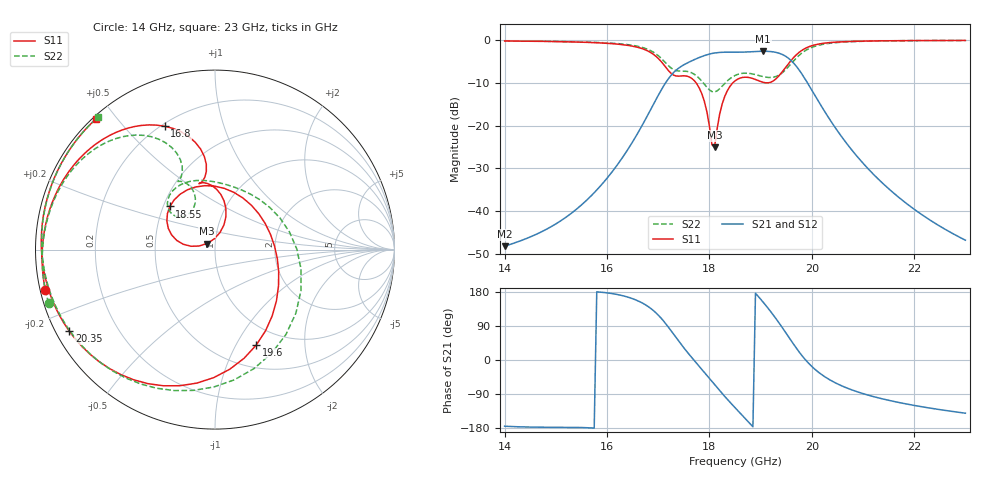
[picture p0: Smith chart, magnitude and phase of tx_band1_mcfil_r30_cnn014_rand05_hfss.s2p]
! Touchstone file exported from HFSS 3D Layout Design 2026.1.0
!  File:  D:/Work/SIM/ADS_AUTO_SIM/projects/RFSOC_RF/TX_Fillter.aedt
!  Generated:  02:31:05 AM Aug 31, 2026
!  Design:  TX_BAND1_MCFIL_R30_CNN014
!  Project:  TX_Fillter
# GHz S MA R 50.000000
! Terminal data exported
! Port[1] = Port1
! Port[2] = Port2
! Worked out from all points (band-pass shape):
!   181 points, 14 GHz to 23 GHz, reference 50 ohm
!   highest |S21| = -2.65 dB at 19.05 GHz (marker M1); lowest = -48.2 dB at 14 GHz (marker M2)
!   |S21| within 3 dB of the highest: 17.53 GHz to 19.66 GHz (2.136 GHz wide, 11.5 % of centre)
!   lowest |S11| = -25.1 dB at 18.1 GHz (marker M3), VSWR 1.12, Z = 45.6 + j3.09 ohm
!   |S11| at or under -10 dB: 17.74 GHz to 18.46 GHz (724.6 MHz wide, 4 % of centre); 19.08896 GHz to 19.15874 GHz (69.77 MHz wide, 0.365 % of centre)
!   |S22| runs from -12.2 to -0.1 dB; largest |S21 - S12| = 1.3e-14
!   S11 on the Smith chart (normalised r, x): 14 GHz: 0.01, -0.12; 16.8 GHz: 0.21, +0.65; 18.55 GHz: 0.54, +0.30; 19.6 GHz: 0.76, -1.21; 20.35 GHz: 0.04, -0.26; 23 GHz: 0.01, +0.44
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14  0.9717 -166.8  0.003898 -174.8  0.003898 -174.8  0.9738 -162.1
15.5  0.9409 161.7  0.0118 -178.1  0.0118 -178.1  0.9469 168.1
16.25  0.8873 138.6  0.03811 171.5  0.03811 171.5  0.9008 147.3
16.8  0.7417 112.1  0.1338 141.4  0.1338 141.4  0.7739 124.4
17  0.6086 100.5  0.2246 118.6  0.2246 118.6  0.6554 114.8
17.25  0.4076 98.0  0.3848 77.4  0.3848 77.4  0.4705 112.7
17.45  0.3794 103.6  0.4909 40.9  0.4909 40.9  0.4322 118.6
17.8  0.2758 79.4  0.6219 -16.6  0.6219 -16.6  0.3563 110.5
18.1  0.05588 142.8  0.703 -64.9  0.703 -64.9  0.2466 128.2
18.25  0.1788 170.5  0.717 -88.5  0.717 -88.5  0.2884 139.7
18.5  0.3322 143.0  0.718 -125.6  0.718 -125.6  0.3841 133.0
18.55  0.3477 136.3  0.718 -132.8  0.718 -132.8  0.3952 129.8
18.8  0.3608 99.0  0.7261 -168.8  0.7261 -168.8  0.4046 110.1
19.05  0.3196 50.6  0.7368 152.6  0.7368 152.6  0.3725 85.9
19.35  0.3761 -19.3  0.7021 99.8  0.7021 99.8  0.3855 37.4
19.6  0.5801 -66.7  0.5712 50.4  0.5712 50.4  0.5308 -25.6
19.8  0.7505 -97.7  0.4052 13.0  0.4052 13.0  0.6977 -71.9
20  0.8552 -122.0  0.2594 -17.0  0.2594 -17.0  0.8173 -106.0
20.35  0.9302 -150.7  0.1179 -52.2  0.1179 -52.2  0.9133 -143.4
20.8  0.9613 -173.6  0.05017 -79.8  0.05017 -79.8  0.9552 -170.7
21.5  0.9772 163.6  0.01829 -106.3  0.01829 -106.3  0.9759 164.0
23  0.985 132.4  0.004578 -140.4  0.004578 -140.4  0.9852 131.6
